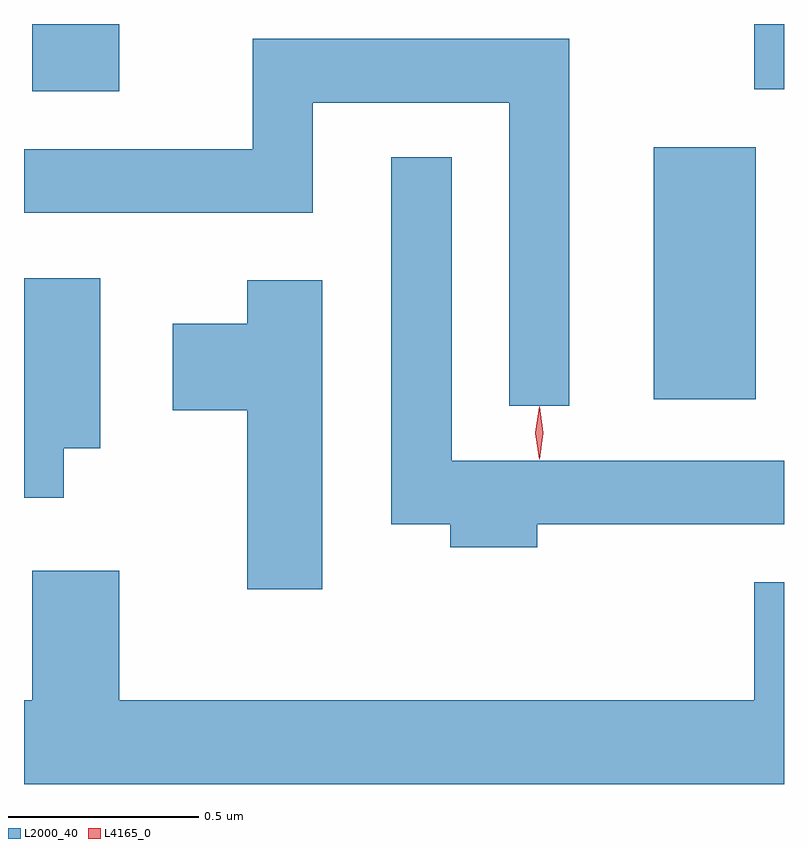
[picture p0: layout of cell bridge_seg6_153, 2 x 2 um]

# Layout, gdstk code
import gdstk
lib = gdstk.Library(unit=1e-6, precision=1e-09)
def R(c, l, rs):  # rectangles x0, y0, x1, y1
    for r in rs: c.add(gdstk.rectangle(r[:2], r[2:], *l))
def P(c, l, *ps):  # polygons
    for p in ps: c.add(gdstk.Polygon(p, *l))
L2000_40 = (2000, 40)
L4165_0 = (4165, 0)

bridge_seg6_153 = lib.new_cell('bridge_seg6_153')
R(bridge_seg6_153, L2000_40, [(1127.306,1566.636,1127.574,1567.299), (1125.671,1567.446,1125.899,1567.623), (1127.571,1567.451,1127.649,1567.623)])
P(bridge_seg6_153, L2000_40, [(1127.084,1567.584),(1126.251,1567.584),(1126.251,1567.294),(1125.649,1567.294),(1125.649,1567.126),(1126.409,1567.126),(1126.409,1567.416),(1126.926,1567.416),(1126.926,1566.618),(1127.084,1566.618)],
  [(1126.999,1566.306),(1127.649,1566.306),(1127.649,1566.474),(1126.774,1566.474),(1126.774,1567.273),(1126.616,1567.273),(1126.616,1566.306),(1126.771,1566.306),(1126.771,1566.246),(1126.999,1566.246)],
  [(1125.754,1566.506),(1125.849,1566.506),(1125.849,1566.954),(1125.649,1566.954),(1125.649,1566.376),(1125.754,1566.376)],
  [(1126.434,1566.949),(1126.236,1566.949),(1126.236,1566.834),(1126.041,1566.834),(1126.041,1566.606),(1126.236,1566.606),(1126.236,1566.136),(1126.434,1566.136)],
  [(1125.671,1566.184),(1125.671,1565.844),(1125.649,1565.844),(1125.649,1565.623),(1127.649,1565.623),(1127.649,1566.154),(1127.571,1566.154),(1127.571,1565.844),(1125.899,1565.844),(1125.899,1566.184)])
P(bridge_seg6_153, L4165_0, [(1127.005,1566.48),(1127.005,1566.48),(1126.995,1566.546),(1127.005,1566.612),(1127.005,1566.613),(1127.006,1566.612),(1127.015,1566.546),(1127.006,1566.48)],
  [(1127.005,1566.477),(1127.005,1566.477),(1126.995,1566.547),(1127.005,1566.616),(1127.005,1566.616),(1127.006,1566.616),(1127.015,1566.547),(1127.006,1566.477)])

lib.write_gds('bridge_seg6_153.gds')
